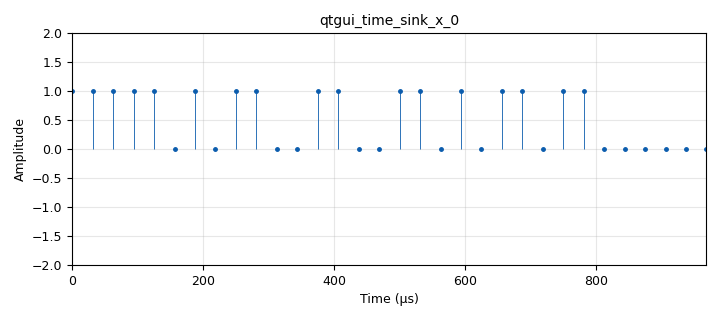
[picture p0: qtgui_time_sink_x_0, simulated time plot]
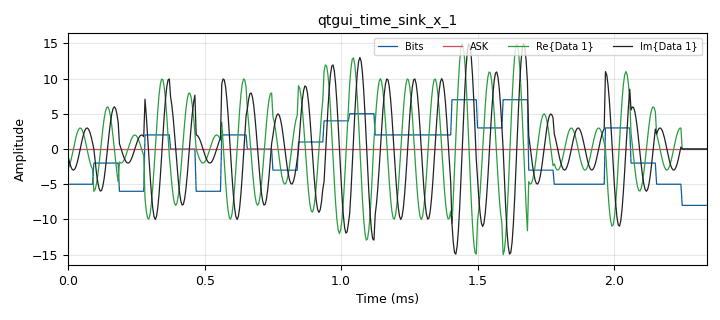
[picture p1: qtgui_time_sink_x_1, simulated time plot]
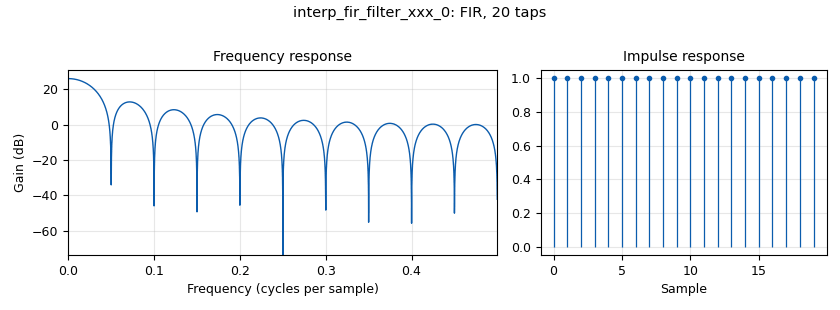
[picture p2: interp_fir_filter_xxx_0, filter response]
options:
  parameters:
    author: JuanD
    generate_options: qt_gui
    id: delete
    output_language: python
    title: Not titled yet
  states: {}

blocks:
- name: M
  id: variable
  parameters:
    value: '16'
  states: {}
- name: Nbs
  id: variable
  parameters:
    value: int(math.log(M,2))
  states: {}
- name: Rb
  id: variable
  parameters:
    value: '32000'
  states: {}
- name: Rs
  id: variable
  parameters:
    value: Rb/3
  states: {}
- name: Sps
  id: variable
  parameters:
    value: len(h)
  states: {}
- name: h
  id: variable
  parameters:
    value: (1,1,1,1,1,1,1,1,1,1,1,1,1,1,1,1,1,1,1,1)
  states: {}
- name: samp_rate
  id: variable
  parameters:
    value: Rs*Sps
  states: {}
- name: analog_random_source_x_0
  id: analog_random_source_x
  parameters:
    max: '2'
    min: '0'
    num_samps: '1000'
    repeat: 'True'
    type: byte
  states: {}
- name: analog_sig_source_x_0
  id: analog_sig_source_x
  parameters:
    amp: '1'
    freq: 10e3
    offset: '0'
    phase: '0'
    samp_rate: samp_rate
    type: complex
    waveform: analog.GR_COS_WAVE
  states: {}
- name: blocks_add_const_vxx_0
  id: blocks_add_const_vxx
  parameters:
    const: '-M/2'
    type: complex
  states: {}
- name: blocks_char_to_float_0
  id: blocks_char_to_float
  parameters:
    scale: '1'
  states: {}
- name: blocks_char_to_float_0_0
  id: blocks_char_to_float
  parameters:
    scale: '1'
  states: {}
- name: blocks_multiply_xx_0
  id: blocks_multiply_xx
  parameters:
    type: complex
  states: {}
- name: blocks_repack_bits_bb_0
  id: blocks_repack_bits_bb
  parameters:
    endianness: gr.GR_LSB_FIRST
    k: '1'
    l: Nbs
  states: {}
- name: import_0
  id: import
  parameters:
    imports: import math
  states: {}
- name: interp_fir_filter_xxx_0
  id: interp_fir_filter_xxx
  parameters:
    interp: Sps
    taps: h
    type: fcc
  states: {}
- name: osmosdr_sink_0
  id: osmosdr_sink
  parameters:
    bb_gain0: '20'
    bw0: 250e3
    freq0: 150e6
    gain0: '10'
    if_gain0: '25'
    sample_rate: samp_rate*5
    sync: sync
    type: fc32
  states: {}
- name: qtgui_time_sink_x_0
  id: qtgui_time_sink_x
  parameters:
    marker1: '0'
    size: '32'
    srate: Rb
    stemplot: 'True'
    type: float
    ymax: '2'
    ymin: '-2'
  states: {}
- name: qtgui_time_sink_x_1
  id: qtgui_time_sink_x
  parameters:
    autoscale: 'True'
    entags: 'False'
    label1: Bits
    label2: ASK
    nconnections: '2'
    size: '500'
    srate: samp_rate
    type: complex
    width1: '2'
    width2: '3'
  states: {}
- name: rational_resampler_xxx_0
  id: rational_resampler_xxx
  parameters:
    decim: '1'
    interp: '5'
    taps: ''
    type: ccc
  states: {}
- name: virtual_sink_0_0
  id: virtual_sink
  parameters:
    stream_id: Tx
  states: {}
- name: virtual_source_0_0
  id: virtual_source
  parameters:
    stream_id: Tx
  states: {}

connections:
- [analog_random_source_x_0, '0', blocks_char_to_float_0, '0']
- [analog_random_source_x_0, '0', blocks_repack_bits_bb_0, '0']
- [analog_sig_source_x_0, '0', blocks_multiply_xx_0, '1']
- [blocks_add_const_vxx_0, '0', qtgui_time_sink_x_1, '0']
- [blocks_char_to_float_0, '0', qtgui_time_sink_x_0, '0']
- [blocks_char_to_float_0_0, '0', interp_fir_filter_xxx_0, '0']
- [blocks_multiply_xx_0, '0', qtgui_time_sink_x_1, '1']
- [blocks_multiply_xx_0, '0', rational_resampler_xxx_0, '0']
- [blocks_repack_bits_bb_0, '0', blocks_char_to_float_0_0, '0']
- [interp_fir_filter_xxx_0, '0', blocks_multiply_xx_0, '0']
- [interp_fir_filter_xxx_0, '0', virtual_sink_0_0, '0']
- [rational_resampler_xxx_0, '0', osmosdr_sink_0, '0']
- [virtual_source_0_0, '0', blocks_add_const_vxx_0, '0']

metadata:
  file_format: 1
